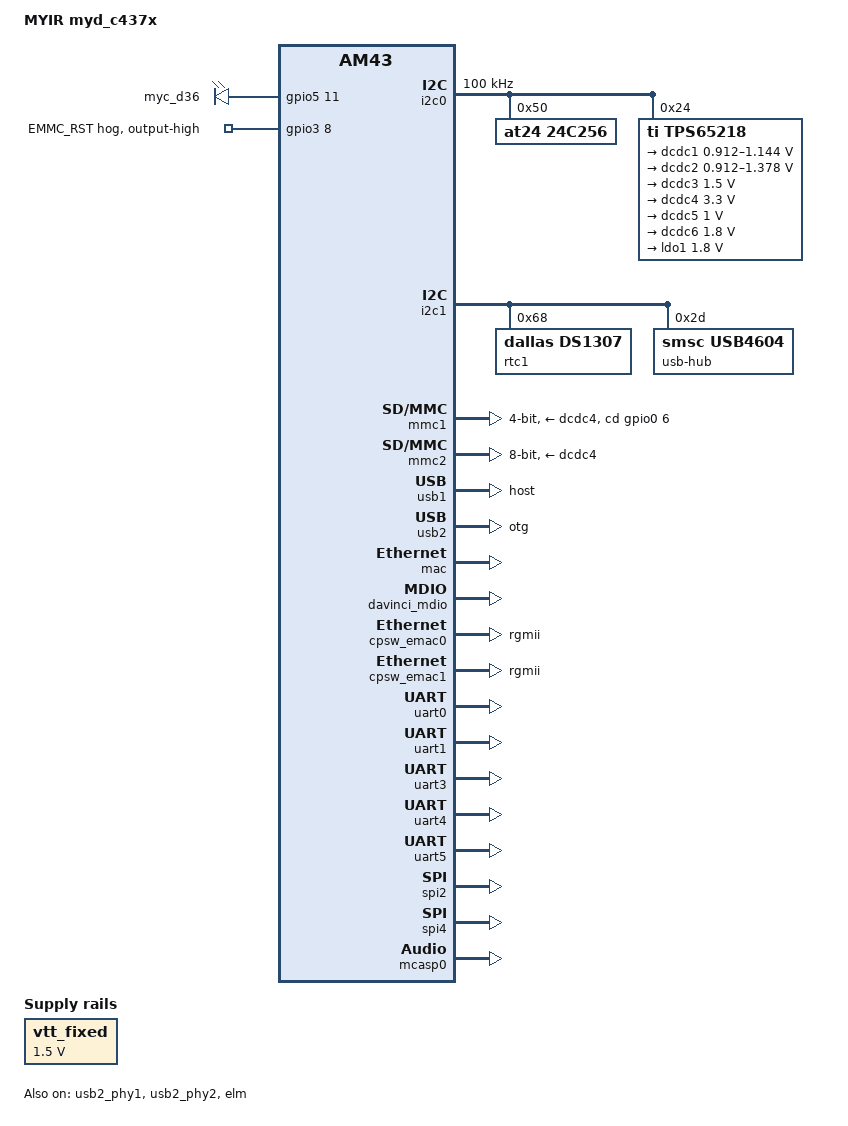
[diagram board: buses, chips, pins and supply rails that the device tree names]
/*
* Copyright (C) 2015 MYIR Tech Limited. - http://www.myirtech.com
*
* This program is free software; you can redistribute it and/or modify
* it under the terms of the GNU General Public License version 2 as
* published by the Free Software Foundation.
*/

/* MYIR myd_c437x */

/dts-v1/;

#include "am4372.dtsi"
#include <dt-bindings/pinctrl/am43xx.h>
#include <dt-bindings/pwm/pwm.h>
#include <dt-bindings/gpio/gpio.h>
#include <dt-bindings/input/input.h>

/ {
	model = "MYIR myd_c437x";
	compatible = "myir,myd_c437x","ti,am4372","ti,am43";

	vtt_fixed: fixedregulator-vtt {
		compatible = "regulator-fixed";
		regulator-name = "vtt_fixed";
		regulator-min-microvolt = <1500000>;
		regulator-max-microvolt = <1500000>;
		regulator-always-on;
		regulator-boot-on;
		enable-active-high;
//		gpio = <&gpio5 7 GPIO_ACTIVE_HIGH>;
	};

	leds {
		compatible = "gpio-leds";

		pinctrl-names = "default";
		pinctrl-0 = <&leds_pins>;
		led@0 {
			label = "myc_d36";
			gpios = <&gpio5 11 GPIO_ACTIVE_HIGH>;	/* Bank 5, pin 11 */
			linux,default-trigger = "cpu0";
			default-state = "off";
		};
	};


/*	sound0: sound@0 {
		compatible = "simple-audio-card";
		simple-audio-card,name = "MYD-C437X-EVM";
//		simple-audio-card,widgets =
//			"Headphone", "Headphone Jack",
//			"Line", "Line In";
		simple-audio-card,routing =
			"MIC_IN", "Mic Jack",
			"Mic Jack", "Mic Bias",
			"Headphone Jack", "HP_OUT";
		simple-audio-card,format = "i2s";
		simple-audio-card,bitclock-master = <&sound0_master>;
		simple-audio-card,frame-master = <&sound0_master>;
		simple-audio-card,bitclock-inversion;

		simple-audio-card,cpu {
			sound-dai = <&mcasp1>;
			system-clock-frequency = <12000000>;
		};
	};

	audio_mstrclk: mclk_osc {
		compatible = "fixed-clock";
		#clock-cells = <0>;
		clock-frequency = <12000000>;
	};*/

};

&am43xx_pinmux {
	pinctrl-names = "default", "sleep";
	pinctrl-0 = <&clkout_pins &unused_pins_default>;
	pinctrl-1 = <&unused_pins_sleep>;

	clkout_pins: pinmux_clkout_pins {
		pinctrl-single,pins = <
			0x274 (PIN_OUTPUT_PULLUP | MUX_MODE3)    /* xdma_event_intr1.clkout2 */
			/* 0x270 (PIN_OUTPUT_PULLUP | MUX_MODE3) */ /* xdma_event_intr0.clkout1 mode 3*/
		>;
	};
	
	ledg_pio0_pins_default: ledg_pio0_pins_default {
		pinctrl-single,pins = <
			0xd0 ( PIN_OUTPUT | MUX_MODE7 ) /* (C19) dss_data12.gpio0[8] */
			0xd8 ( PIN_OUTPUT | MUX_MODE7 ) /* (C17) dss_data14.gpio0[10] */
		>;
	};

	led_lte_gpio4_pins_default: led_lte_gpio4_pins_default {
		pinctrl-single,pins = <
			0x1b4 ( PIN_OUTPUT | MUX_MODE7 ) /* (AD18) cam0_vd.gpio4[1] */
			0x1bc ( PIN_OUTPUT | MUX_MODE7 ) /* (AD17) cam0_wen.gpio4[3] */
			0x1c4 ( PIN_OUTPUT | MUX_MODE7 ) /* (AB19) cam0_data8.gpio4[5] */
			0x1cc ( PIN_OUTPUT | MUX_MODE7 ) /* (AC24) cam1_data9.gpio4[7] */
			0x1d4 ( PIN_OUTPUT | MUX_MODE7 ) /* (AD25) cam1_hd.gpio4[9] */
			0x1d8 ( PIN_OUTPUT | MUX_MODE7 ) /* (AC23) cam1_vd.gpio4[10] */
			0x1dc ( PIN_INPUT | MUX_MODE7 ) /* (AE21) cam1_pclk.gpio4[11] */
			0x1e0 ( PIN_OUTPUT | MUX_MODE7 ) /* (AC25) cam1_field.gpio4[12] */
			0x1e4 ( PIN_OUTPUT | MUX_MODE7 ) /* (AB25) cam1_wen.gpio4[13] */
			0x1e8 ( PIN_INPUT | MUX_MODE7 ) /* (AB20) cam1_data0.gpio4[14] */
			0x1ec ( PIN_INPUT | MUX_MODE7 ) /* (AC21) cam1_data1.gpio4[15] */
			0x1f0 ( PIN_INPUT | MUX_MODE7 ) /* (AD21) cam1_data2.gpio4[16] */
			0x1f4 ( PIN_OUTPUT | MUX_MODE7 ) /* (AE22) cam1_data3.gpio4[17] */
			0x1f8 ( PIN_OUTPUT | MUX_MODE7 ) /* (AD22) cam1_data4.gpio4[18] */
			0x1fc ( PIN_OUTPUT | MUX_MODE7 ) /* (AE23) cam1_data5.gpio4[19] */
			0x200 ( PIN_OUTPUT | MUX_MODE7 ) /* (AD23) cam1_data6.gpio4[20] */
		>;
	};

	/* Optional sleep pin settings. Must manually enter values in the below skeleton. */
	led_lte_gpio4_pins_sleep: led_lte_gpio4_pins_sleep {
		pinctrl-single,pins = <
			0x1b4 (PIN_INPUT_PULLDOWN | MUX_MODE7 ) /* (AD18) cam0_vd.gpio4[1] */
			0x1bc (PIN_INPUT_PULLDOWN | MUX_MODE7 ) /* (AD17) cam0_wen.gpio4[3] */
			0x1c4 (PIN_INPUT_PULLDOWN | MUX_MODE7 ) /* (AB19) cam0_data8.gpio4[5] */
			0x1cc (PIN_INPUT_PULLDOWN | MUX_MODE7 ) /* (AC24) cam1_data9.gpio4[7] */
			0x1d4 (PIN_INPUT_PULLDOWN | MUX_MODE7 ) /* (AD25) cam1_hd.gpio4[9] */
			0x1d8 (PIN_INPUT_PULLDOWN | MUX_MODE7 ) /* (AC23) cam1_vd.gpio4[10] */
			0x1dc (PIN_INPUT_PULLDOWN | MUX_MODE7 ) /* (AE21) cam1_pclk.gpio4[11] */
			0x1e0 (PIN_INPUT_PULLDOWN | MUX_MODE7 ) /* (AC25) cam1_field.gpio4[12] */
			0x1e4 (PIN_INPUT_PULLDOWN | MUX_MODE7) /* (AB25) cam1_wen.gpio4[13] */
			0x1e8 (PIN_INPUT_PULLDOWN | MUX_MODE7 ) /* (AB20) cam1_data0.gpio4[14] */
			0x1ec (PIN_INPUT_PULLDOWN | MUX_MODE7) /* (AC21) cam1_data1.gpio4[15] */
			0x1f0 (PIN_INPUT_PULLDOWN | MUX_MODE7 ) /* (AD21) cam1_data2.gpio4[16] */
			0x1f4 (PIN_INPUT_PULLDOWN | MUX_MODE7 ) /* (AE22) cam1_data3.gpio4[17] */
			0x1f8 (PIN_INPUT_PULLDOWN | MUX_MODE7 ) /* (AD22) cam1_data4.gpio4[18] */
			0x1fc (PIN_INPUT_PULLDOWN | MUX_MODE7 ) /* (AE23) cam1_data5.gpio4[19] */
			0x200 (PIN_INPUT_PULLDOWN | MUX_MODE7 ) /* (AD23) cam1_data6.gpio4[20] */
		>;
	};

	i2c1_pins_default: i2c1_pins_default {
		pinctrl-single,pins = <
			0x240 ( PIN_INPUT | MUX_MODE1 ) /* (G20) gpio5_10.I2C1_SCL */
			0x248 ( PIN_INPUT | MUX_MODE1 ) /* (E25) gpio5_12.I2C1_SDA */
		>;
	};

	/* Optional sleep pin settings. Must manually enter values in the below skeleton. */
	i2c1_pins_sleep: i2c1_pins_sleep {
		pinctrl-single,pins = <
			0x240 (PIN_INPUT | MUX_MODE7 ) /* (G20) gpio5_10.I2C1_SCL */
			0x248 (PIN_INPUT | MUX_MODE7 ) /* (E25) gpio5_12.I2C1_SDA */
		>;
	};
	
	i2c0_pins_default: i2c0_pins_default {
		pinctrl-single,pins = <
			0x18c ( PIN_INPUT | MUX_MODE0 ) /* (Y22) I2C0_SCL.I2C0_SCL */
			0x188 ( PIN_INPUT | MUX_MODE0 ) /* (AB24) I2C0_SDA.I2C0_SDA */
		>;
	};

	/* Optional sleep pin settings. Must manually enter values in the below skeleton. */
	i2c0_pins_sleep: i2c0_pins_sleep {
		pinctrl-single,pins = <
			0x18c (PIN_INPUT | MUX_MODE7 ) /* (Y22) I2C0_SCL.I2C0_SCL */
			0x188 (PIN_INPUT | MUX_MODE7 ) /* (AB24) I2C0_SDA.I2C0_SDA */
		>;
	};

	mcasp0_pins_default: mymcasp0_pins_default {
		pinctrl-single,pins = <
			0x19c ( PIN_INPUT | MUX_MODE0 ) /* (M24) mcasp0_ahclkr.mcasp0_ahclkr */
			0x1a0 ( PIN_INPUT | MUX_MODE0 ) /* (L23) mcasp0_aclkr.mcasp0_aclkr */
			0x1a4 ( PIN_INPUT | MUX_MODE0 ) /* (K23) mcasp0_fsr.mcasp0_fsr */
			0x198 ( PIN_OUTPUT | MUX_MODE0 ) /* (H23) mcasp0_axr0.mcasp0_axr0 */
			0x1a8 ( PIN_INPUT | MUX_MODE0 ) /* (M25) mcasp0_axr1.mcasp0_axr1 */
		>;
	};

	/* Optional sleep pin settings. Must manually enter values in the below skeleton. */
	mcasp0_pins_sleep: mymcasp0_pins_sleep {
		pinctrl-single,pins = <
			0x19c (PIN_INPUT | MUX_MODE7 ) /* (M24) mcasp0_ahclkr.mcasp0_ahclkr */
			0x1a0 (PIN_INPUT | MUX_MODE7 ) /* (L23) mcasp0_aclkr.mcasp0_aclkr */
			0x1a4 (PIN_INPUT | MUX_MODE7 ) /* (K23) mcasp0_fsr.mcasp0_fsr */
			0x198 (PIN_INPUT | MUX_MODE7 ) /* (H23) mcasp0_axr0.mcasp0_axr0 */
			0x1a8 (PIN_INPUT | MUX_MODE7 ) /* (M25) mcasp0_axr1.mcasp0_axr1 */
		>;
	};

	mmc1_pins_default: mmc1_pins_default {
		pinctrl-single,pins = <
			0x100 ( PIN_INPUT | MUX_MODE0 ) /* (D1) mmc0_clk.mmc0_clk */
			0x104 ( PIN_INPUT | MUX_MODE0 ) /* (D2) mmc0_cmd.mmc0_cmd */
			0xfc ( PIN_INPUT | MUX_MODE0 ) /* (C1) mmc0_dat0.mmc0_dat0 */
			0xf8 ( PIN_INPUT | MUX_MODE0 ) /* (C2) mmc0_dat1.mmc0_dat1 */
			0xf4 ( PIN_INPUT | MUX_MODE0 ) /* (B2) mmc0_dat2.mmc0_dat2 */
			0xf0 ( PIN_INPUT | MUX_MODE0 ) /* (B1) mmc0_dat3.mmc0_dat3 */
			0x160 ( PIN_INPUT | MUX_MODE5 ) /* (R25) spi0_cs1.mmc0_sdcd */
		>;
	};

	/* Optional sleep pin settings. Must manually enter values in the below skeleton. */
	mmc1_pins_sleep: mmc1_pins_sleep {
		pinctrl-single,pins = <
			0x100 (PIN_INPUT | MUX_MODE7 ) /* (D1) mmc0_clk.mmc0_clk */
			0x104 (PIN_INPUT | MUX_MODE7 ) /* (D2) mmc0_cmd.mmc0_cmd */
			0xfc (PIN_INPUT | MUX_MODE7 ) /* (C1) mmc0_dat0.mmc0_dat0 */
			0xf8 (PIN_INPUT | MUX_MODE7 ) /* (C2) mmc0_dat1.mmc0_dat1 */
			0xf4 (PIN_INPUT | MUX_MODE7 ) /* (B2) mmc0_dat2.mmc0_dat2 */
			0xf0 (PIN_INPUT | MUX_MODE7 ) /* (B1) mmc0_dat3.mmc0_dat3 */
			0x160 (PIN_INPUT | MUX_MODE7 ) /* (R25) spi0_cs1.mmc0_sdcd */
		>;
	};

	lcdspi_pins_default: lcdspi_pins_default {
		pinctrl-single,pins = <
			0x260 ( PIN_OUTPUT | MUX_MODE0 ) /* (N20) spi2_sclk.spi2_sclk */
			0x264 ( PIN_OUTPUT | MUX_MODE0 ) /* (P22) spi2_d0.spi2_d0 */
			0x268 ( PIN_INPUT | MUX_MODE0 ) /* (P20) spi2_d1.spi2_d1 */
			0x26c ( PIN_OUTPUT | MUX_MODE0 ) /* (T23) spi2_cs0.spi2_cs0 */
		>;
	};

	/* Optional sleep pin settings. Must manually enter values in the below skeleton. */
	lcdspi_pins_sleep: lcdspi_pins_sleep {
		pinctrl-single,pins = <
			0x260 (PIN_INPUT_PULLDOWN | MUX_MODE7 ) /* (N20) spi2_sclk.spi2_sclk */
			0x264 (PIN_INPUT_PULLDOWN | MUX_MODE7 ) /* (P22) spi2_d0.spi2_d0 */
			0x268 (PIN_INPUT_PULLDOWN | MUX_MODE7 ) /* (P20) spi2_d1.spi2_d1 */
			0x26c (PIN_INPUT_PULLDOWN | MUX_MODE7 ) /* (T23) spi2_cs0.spi2_cs0 */
		>;
	};

	lte2_i2s_pins_default: lte2_i2s_pins_default {
		pinctrl-single,pins = <
			0x250 ( PIN_INPUT | MUX_MODE0 ) /* (P25) spi4_sclk.spi4_sclk */
			0x254 ( PIN_OUTPUT | MUX_MODE0 ) /* (R24) spi4_d0.spi4_d0 */
			0x258 ( PIN_INPUT | MUX_MODE0 ) /* (P24) spi4_d1.spi4_d1 */
			0x25c ( PIN_INPUT | MUX_MODE0 ) /* (N25) spi4_cs0.spi4_cs0 */
		>;
	};

	/* Optional sleep pin settings. Must manually enter values in the below skeleton. */
	lte2_i2s_pins_sleep: lte2_i2s_pins_sleep {
		pinctrl-single,pins = <
			0x250 (PIN_INPUT | MUX_MODE7 ) /* (P25) spi4_sclk.spi4_sclk */
			0x254 (PIN_INPUT | MUX_MODE7) /* (R24) spi4_d0.spi4_d0 */
			0x258 (PIN_INPUT | MUX_MODE7 ) /* (P24) spi4_d1.spi4_d1 */
			0x25c (PIN_INPUT | MUX_MODE7  ) /* (N25) spi4_cs0.spi4_cs0 */
		>;
	};

	debuguart_pins_default: debuguart_pins_default {
		pinctrl-single,pins = <
			0x170 ( PIN_INPUT | MUX_MODE0 ) /* (K25) uart0_rxd.uart0_rxd */
			0x174 ( PIN_OUTPUT | MUX_MODE0 ) /* (J24) uart0_txd.uart0_txd */
		>;
	};

	/* Optional sleep pin settings. Must manually enter values in the below skeleton. */
	debuguart_pins_sleep: debuguart_pins_sleep {
		pinctrl-single,pins = <
			0x170 (PIN_INPUT | MUX_MODE7 ) /* (K25) uart0_rxd.uart0_rxd */
			0x174 (PIN_INPUT | MUX_MODE7 ) /* (J24) uart0_txd.uart0_txd */
		>;
	};

	lte1uart_pins_default: lte1uart_pins_default {
		pinctrl-single,pins = <
			0x228 ( PIN_INPUT | MUX_MODE0 ) /* (H25) uart3_rxd.uart3_rxd */
			0x22c ( PIN_OUTPUT | MUX_MODE0 ) /* (H24) uart3_txd.uart3_txd */
			0x230 ( PIN_INPUT | MUX_MODE0 ) /* (H22) uart3_ctsn.uart3_ctsn */
			0x234 ( PIN_OUTPUT | MUX_MODE0 ) /* (K24) uart3_rtsn.uart3_rtsn */
		>;
	};

	/* Optional sleep pin settings. Must manually enter values in the below skeleton. */
	lte1uart_pins_sleep: lte1uart_pins_sleep {
		pinctrl-single,pins = <
			0x228 (PIN_INPUT | MUX_MODE7 ) /* (H25) uart3_rxd.uart3_rxd */
			0x22c (PIN_INPUT | MUX_MODE7 ) /* (H24) uart3_txd.uart3_txd */
			0x230 (PIN_INPUT | MUX_MODE7 ) /* (H22) uart3_ctsn.uart3_ctsn */
			0x234 (PIN_INPUT | MUX_MODE7 ) /* (K24) uart3_rtsn.uart3_rtsn */
		>;
	};

	lte2uart_pins_default: lte2uart_pins_default {
		pinctrl-single,pins = <
			0x180 ( PIN_INPUT | MUX_MODE0 ) /* (K21) uart1_rxd.uart1_rxd */
			0x184 ( PIN_OUTPUT | MUX_MODE0 ) /* (L21) uart1_txd.uart1_txd */
			0x178 ( PIN_INPUT | MUX_MODE0 ) /* (K22) uart1_ctsn.uart1_ctsn */
			0x17c ( PIN_OUTPUT | MUX_MODE0 ) /* (L22) uart1_rtsn.uart1_rtsn */
		>;
	};

	/* Optional sleep pin settings. Must manually enter values in the below skeleton. */
	lte2uart_pins_sleep: lte2uart_pins_sleep {
		pinctrl-single,pins = <
			0x180 (PIN_INPUT | MUX_MODE7 ) /* (K21) uart1_rxd.uart1_rxd */
			0x184 (PIN_INPUT | MUX_MODE7 ) /* (L21) uart1_txd.uart1_txd */
			0x178 (PIN_INPUT | MUX_MODE7 ) /* (K22) uart1_ctsn.uart1_ctsn */
			0x17c (PIN_INPUT | MUX_MODE7 ) /* (L22) uart1_rtsn.uart1_rtsn */
		>;
	};

	simuart1_pins_default: simuart1_pins_default {
		pinctrl-single,pins = <
			0x108 ( PIN_INPUT | MUX_MODE3 ) /* (D16) mii1_col.uart5_rxd */
			0x144 ( PIN_OUTPUT | MUX_MODE3 ) /* (A16) rmii1_ref_clk.uart5_txd */
			0x10c ( PIN_INPUT | MUX_MODE5 ) /* (B14) mii1_crs.uart5_ctsn */
			0x110 ( PIN_OUTPUT | MUX_MODE5 ) /* (B13) mii1_rx_er.uart5_rtsn */
		>;
	};

	/* Optional sleep pin settings. Must manually enter values in the below skeleton. */
	simuart1_pins_sleep: simuart1_pins_sleep {
		pinctrl-single,pins = <
			0x108 (PIN_INPUT | MUX_MODE7 ) /* (D16) mii1_col.uart5_rxd */
			0x144 (PIN_INPUT | MUX_MODE7 ) /* (A16) rmii1_ref_clk.uart5_txd */
			0x10c (PIN_INPUT | MUX_MODE7 ) /* (B14) mii1_crs.uart5_ctsn */
			0x110 (PIN_INPUT | MUX_MODE7 ) /* (B13) mii1_rx_er.uart5_rtsn */
		>;
	};

	simuart2_pins_default: simuart2_pins_default {
		pinctrl-single,pins = <
			0x70 ( PIN_INPUT | MUX_MODE6 ) /* (A2) gpmc_wait0.uart4_rxd */
			0x74 ( PIN_OUTPUT | MUX_MODE6 ) /* (B3) gpmc_wpn.uart4_txd */
		>;
	};

	/* Optional sleep pin settings. Must manually enter values in the below skeleton. */
	simuart2_pins_sleep: simuart2_pins_sleep {
		pinctrl-single,pins = <
			0x70 (PIN_INPUT | MUX_MODE7 ) /* (A2) gpmc_wait0.uart4_rxd */
			0x74 (PIN_INPUT | MUX_MODE7 ) /* (B3) gpmc_wpn.uart4_txd */
		>;
	};

	miniusb_pins_default: miniusb_pins_default {
		pinctrl-single,pins = <
			0x2c4 ( PIN_OUTPUT | MUX_MODE0 ) /* (F25) USB1_DRVVBUS.USB1_DRVVBUS */
		>;
	};

	/* Optional sleep pin settings. Must manually enter values in the below skeleton. */
	miniusb_pins_sleep: miniusb_pins_sleep {
		pinctrl-single,pins = <
			0x2c4 (PIN_OUTPUT | MUX_MODE0 ) /* (F25) USB1_DRVVBUS.USB1_DRVVBUS */
		>;
	};

	usb_hub_pins_default: usb_hub_pins_default {
		pinctrl-single,pins = <
			0x2c0 ( PIN_OUTPUT | MUX_MODE0 ) /* (G21) USB0_DRVVBUS.USB0_DRVVBUS */
		>;
	};

	/* Optional sleep pin settings. Must manually enter values in the below skeleton. */
	usb_hub_pins_sleep: usb_hub_pins_sleep {
		pinctrl-single,pins = <
			0x2c0 (PIN_OUTPUT | MUX_MODE0 ) /* (G21) USB0_DRVVBUS.USB0_DRVVBUS */
		>;
	};
	emmc_pins_default: emmc_pins_default {
		pinctrl-single,pins = <
			0x80 ( PIN_INPUT_PULLUP | MUX_MODE2 ) /* (B9) gpmc_csn1.mmc1_clk */
			0x84 ( PIN_INPUT_PULLUP | MUX_MODE2 ) /* (F10) gpmc_csn2.mmc1_cmd */
			0x20 ( PIN_INPUT_PULLUP | MUX_MODE2 ) /* (B10) gpmc_ad8.mmc1_dat0 */
			0x24 ( PIN_INPUT_PULLUP | MUX_MODE2 ) /* (A10) gpmc_ad9.mmc1_dat1 */
			0x28 ( PIN_INPUT_PULLUP | MUX_MODE2 ) /* (F11) gpmc_ad10.mmc1_dat2 */
			0x2c ( PIN_INPUT_PULLUP | MUX_MODE2 ) /* (D11) gpmc_ad11.mmc1_dat3 */
			0x30 ( PIN_INPUT_PULLUP | MUX_MODE2 ) /* (E11) gpmc_ad12.mmc1_dat4 */
			0x34 ( PIN_INPUT_PULLUP | MUX_MODE2 ) /* (C11) gpmc_ad13.mmc1_dat5 */
			0x38 ( PIN_INPUT_PULLUP | MUX_MODE2 ) /* (B11) gpmc_ad14.mmc1_dat6 */
			0x3c ( PIN_INPUT_PULLUP | MUX_MODE2 ) /* (A11) gpmc_ad15.mmc1_dat7 */
		>;
	};

	emmc_pins_sleep: emmc_pins_sleep {
		pinctrl-single,pins = <
			0x80 (PIN_INPUT_PULLDOWN | MUX_MODE7) /* (B9) gpmc_csn1.mmc1_clk */
			0x84 (PIN_INPUT_PULLDOWN | MUX_MODE7) /* (F10) gpmc_csn2.mmc1_cmd */
			0x20 (PIN_INPUT_PULLDOWN | MUX_MODE7) /* (B10) gpmc_ad8.mmc1_dat0 */
			0x24 (PIN_INPUT_PULLDOWN | MUX_MODE7) /* (A10) gpmc_ad9.mmc1_dat1 */
			0x28 (PIN_INPUT_PULLDOWN | MUX_MODE7) /* (F11) gpmc_ad10.mmc1_dat2 */
			0x2c (PIN_INPUT_PULLDOWN | MUX_MODE7) /* (D11) gpmc_ad11.mmc1_dat3 */
			0x30 (PIN_INPUT_PULLDOWN | MUX_MODE7) /* (E11) gpmc_ad12.mmc1_dat4 */
			0x34 (PIN_INPUT_PULLDOWN | MUX_MODE7) /* (C11) gpmc_ad13.mmc1_dat5 */
			0x38 (PIN_INPUT_PULLDOWN | MUX_MODE7) /* (B11) gpmc_ad14.mmc1_dat6 */
			0x3c (PIN_INPUT_PULLDOWN | MUX_MODE7) /* (A11) gpmc_ad15.mmc1_dat7 */
		>;
	};


	cpsw_default: cpsw_default {
		pinctrl-single,pins = <
			/* Slave 1 */
			0x114 (PIN_OUTPUT_PULLDOWN | MUX_MODE2)	/* mii1_txen.rgmii1_txen */
			0x118 (PIN_INPUT_PULLDOWN | MUX_MODE2)	/* mii1_rxdv.rgmii1_rxctl */
			0x11c (PIN_OUTPUT_PULLDOWN | MUX_MODE2)	/* mii1_txd1.rgmii1_txd3 */
			0x120 (PIN_OUTPUT_PULLDOWN | MUX_MODE2)	/* mii1_txd0.rgmii1_txd2 */
			0x124 (PIN_OUTPUT_PULLDOWN | MUX_MODE2)	/* mii1_txd1.rgmii1_txd1 */
			0x128 (PIN_OUTPUT_PULLDOWN | MUX_MODE2)	/* mii1_txd0.rgmii1_txd0 */
			0x12c (PIN_OUTPUT_PULLDOWN | MUX_MODE2)	/* mii1_txclk.rmii1_tclk */
			0x130 (PIN_INPUT_PULLDOWN | MUX_MODE2)	/* mii1_rxclk.rmii1_rclk */
			0x134 (PIN_INPUT_PULLDOWN | MUX_MODE2)	/* mii1_rxd1.rgmii1_rxd3 */
			0x138 (PIN_INPUT_PULLDOWN | MUX_MODE2)	/* mii1_rxd0.rgmii1_rxd2 */
			0x13c (PIN_INPUT_PULLDOWN | MUX_MODE2)	/* mii1_rxd1.rgmii1_rxd1 */
			0x140 (PIN_INPUT_PULLDOWN | MUX_MODE2)	/* mii1_rxd0.rgmii1_rxd0 */

			/* Slave 2 */
			0x58 (PIN_OUTPUT_PULLDOWN | MUX_MODE2)	/* gpmc_a6.rgmii2_tclk */
			0x40 (PIN_OUTPUT_PULLDOWN | MUX_MODE2)	/* gpmc_a0.rgmii2_tctl */
			0x54 (PIN_OUTPUT_PULLDOWN | MUX_MODE2)	/* gpmc_a5.rgmii2_td0 */
			0x50 (PIN_OUTPUT_PULLDOWN | MUX_MODE2)	/* gpmc_a4.rgmii2_td1 */
			0x4c (PIN_OUTPUT_PULLDOWN | MUX_MODE2)	/* gpmc_a3.rgmii2_td2 */
			0x48 (PIN_OUTPUT_PULLDOWN | MUX_MODE2)	/* gpmc_a2.rgmii2_td3 */
			0x5c (PIN_INPUT_PULLDOWN | MUX_MODE2)	/* gpmc_a7.rgmii2_rclk */
			0x44 (PIN_INPUT_PULLDOWN | MUX_MODE2)	/* gpmc_a1.rgmii2_rtcl */
			0x6c (PIN_INPUT_PULLDOWN | MUX_MODE2)	/* gpmc_a11.rgmii2_rd0 */
			0x68 (PIN_INPUT_PULLDOWN | MUX_MODE2)	/* gpmc_a10.rgmii2_rd1 */
			0x64 (PIN_INPUT_PULLDOWN | MUX_MODE2)	/* gpmc_a9.rgmii2_rd2 */
			0x60 (PIN_INPUT_PULLDOWN | MUX_MODE2)	/* gpmc_a8.rgmii2_rd3 */
		>;
	};

	cpsw_sleep: cpsw_sleep {
		pinctrl-single,pins = <
			/* Slave 1 reset value */
			0x114 (PIN_INPUT_PULLDOWN | MUX_MODE7)
			0x118 (PIN_INPUT_PULLDOWN | MUX_MODE7)
			0x11c (PIN_INPUT_PULLDOWN | MUX_MODE7)
			0x120 (PIN_INPUT_PULLDOWN | MUX_MODE7)
			0x124 (PIN_INPUT_PULLDOWN | MUX_MODE7)
			0x128 (PIN_INPUT_PULLDOWN | MUX_MODE7)
			0x12c (PIN_INPUT_PULLDOWN | MUX_MODE7)
			0x130 (PIN_INPUT_PULLDOWN | MUX_MODE7)
			0x134 (PIN_INPUT | PULL_DISABLE | MUX_MODE7)
			0x138 (PIN_INPUT | PULL_DISABLE | MUX_MODE7)
			0x13c (PIN_INPUT | PULL_DISABLE | MUX_MODE7)
			0x140 (PIN_INPUT | PULL_DISABLE | MUX_MODE7)

			/* Slave 2 reset value */
			0x58 (PIN_INPUT_PULLDOWN | MUX_MODE7)
			0x40 (PIN_INPUT_PULLDOWN | MUX_MODE7)
			0x54 (PIN_INPUT_PULLDOWN | MUX_MODE7)
			0x50 (PIN_INPUT_PULLDOWN | MUX_MODE7)
			0x4c (PIN_INPUT_PULLDOWN | MUX_MODE7)
			0x48 (PIN_INPUT_PULLDOWN | MUX_MODE7)
			0x5c (PIN_INPUT_PULLDOWN | MUX_MODE7)
			0x44 (PIN_INPUT_PULLDOWN | MUX_MODE7)
			0x6c (PIN_INPUT_PULLDOWN | MUX_MODE7)
			0x68 (PIN_INPUT_PULLDOWN | MUX_MODE7)
			0x64 (PIN_INPUT_PULLDOWN | MUX_MODE7)
			0x60 (PIN_INPUT_PULLDOWN | MUX_MODE7)
		>;
	};

	davinci_mdio_default: davinci_mdio_default {
		pinctrl-single,pins = <
			/* MDIO */
			0x148 (PIN_INPUT_PULLUP | SLEWCTRL_FAST | MUX_MODE0)	/* mdio_data.mdio_data */
			0x14c (PIN_OUTPUT_PULLUP | MUX_MODE0)			/* mdio_clk.mdio_clk */
		>;
	};

	davinci_mdio_sleep: davinci_mdio_sleep {
		pinctrl-single,pins = <
			/* MDIO reset value */
			0x148 (PIN_INPUT | PULL_DISABLE | MUX_MODE7)
			0x14c (PIN_INPUT | PULL_DISABLE | MUX_MODE7)
		>;
	};

	leds_pins: leds_pins {
		pinctrl-single,pins = <
			0x244 ( PIN_OUTPUT_PULLUP | MUX_MODE7 ) /* (F23) gpio5_11.gpio5[11] */
		>;
	};

	uart0_pins_default: uart0_pins_default {
		pinctrl-single,pins = <
			0x168 (DS0_PULL_UP_DOWN_EN | INPUT_EN | MUX_MODE0)
			0x16C (DS0_PULL_UP_DOWN_EN | INPUT_EN | MUX_MODE0)
			0x170 (PIN_INPUT_PULLUP | SLEWCTRL_FAST | DS0_PULL_UP_DOWN_EN | MUX_MODE0) /* uart0_rxd.uart0_rxd */
			0x174 (PIN_INPUT | PULL_DISABLE | SLEWCTRL_FAST | DS0_PULL_UP_DOWN_EN | MUX_MODE0) /* uart0_txd.uart0_txd */
		>;
	};

	uart0_pins_sleep: uart0_pins_sleep {
		pinctrl-single,pins = <
			0x168 (DS0_PULL_UP_DOWN_EN | INPUT_EN | MUX_MODE7)
			0x16C (DS0_PULL_UP_DOWN_EN | INPUT_EN | MUX_MODE7)
			0x170 (PIN_INPUT_PULLUP | SLEWCTRL_FAST | DS0_PULL_UP_DOWN_EN | MUX_MODE0) /* uart0_rxd.uart0_rxd */
			0x174 (PIN_INPUT_PULLDOWN | SLEWCTRL_FAST | DS0_PULL_UP_DOWN_EN | MUX_MODE0) /* uart0_txd.uart0_txd */
		>;
	};

	
	gpio3_pins: gpio3_pins_default {
		pinctrl-single,pins = <
		0x2a4 ( PIN_OUTPUT_PULLUP | MUX_MODE7 ) /* (N23) EMU1.gpio3[7] */
		0x2a8 ( PIN_OUTPUT | MUX_MODE7 ) /* (T24) EMU1.gpio3[8] */
		>;
	};

	unused_pins_default: pinmux_unused_pins_default {
	pinctrl-single,pins = <
		0x23c ( PIN_INPUT_PULLDOWN | MUX_MODE7)  // GPIO5_9
		0x270 ( PIN_INPUT_PULLUP | MUX_MODE7 ) /* (D24) xdma_event_intr0.gpio0[19] */
		>;
	};

	unused_pins_sleep: pinmux_unused_pins_sleep {
		pinctrl-single,pins = <
			0x23c ( PIN_INPUT_PULLDOWN | MUX_MODE7)
			0x270 ( PIN_INPUT_PULLDOWN | MUX_MODE7 ) /* (D24) xdma_event_intr0.gpio0[19] */
			>;
        };
};

&i2c0 {
	status = "okay";
	pinctrl-names = "default", "sleep";
	pinctrl-0 = <&i2c0_pins_default>;
	pinctrl-1 = <&i2c0_pins_sleep>;
	clock-frequency = <100000>;

	at24@50 {
		compatible = "at24,24c256";
		pagesize = <64>;
		reg = <0x50>;
		};

	tps65218: tps65218@24 {
		reg = <0x24>;
		compatible = "ti,tps65218";
		interrupts = <GIC_SPI 7 IRQ_TYPE_LEVEL_HIGH>;
		interrupt-controller;
		#interrupt-cells = <2>;

		dcdc1: regulator-dcdc1 {
			compatible = "ti,tps65218-dcdc1";
			/* VDD_CORE limits min of OPP50 and max of OPP100 */
			regulator-name = "vdd_core";
			regulator-min-microvolt = <912000>;
			regulator-max-microvolt = <1144000>;
			regulator-boot-on;
			regulator-always-on;
		};

		dcdc2: regulator-dcdc2 {
			compatible = "ti,tps65218-dcdc2";
			/* VDD_MPU limits min of OPP50 and max of OPP_NITRO */
			regulator-name = "vdd_mpu";
			regulator-min-microvolt = <912000>;
			regulator-max-microvolt = <1378000>;
			regulator-boot-on;
			regulator-always-on;
		};

		dcdc3: regulator-dcdc3 {
			compatible = "ti,tps65218-dcdc3";
			regulator-name = "vdds_ddr";
			regulator-min-microvolt = <1500000>;
			regulator-max-microvolt = <1500000>;
			regulator-boot-on;
			regulator-always-on;
			regulator-state-mem {
				regulator-on-in-suspend;
			};
			regulator-state-disk {
				regulator-off-in-suspend;
			};
		};

		dcdc4: regulator-dcdc4 {
			compatible = "ti,tps65218-dcdc4";
			regulator-name = "v3_3d";
			regulator-min-microvolt = <3300000>;
			regulator-max-microvolt = <3300000>;
			regulator-boot-on;
			regulator-always-on;
		};

		dcdc5: regulator-dcdc5 {
			compatible = "ti,tps65218-dcdc5";
			regulator-name = "v1_0bat";
			regulator-min-microvolt = <1000000>;
			regulator-max-microvolt = <1000000>;
			regulator-boot-on;
			regulator-always-on;
			regulator-state-mem {
				regulator-on-in-suspend;
			};
		};

		dcdc6: regulator-dcdc6 {
			compatible = "ti,tps65218-dcdc6";
			regulator-name = "v1_8bat";
			regulator-min-microvolt = <1800000>;
			regulator-max-microvolt = <1800000>;
			regulator-boot-on;
			regulator-always-on;
			regulator-state-mem {
				regulator-on-in-suspend;
			};
		};

		ldo1: regulator-ldo1 {
			compatible = "ti,tps65218-ldo1";
			regulator-name = "v1_8d";
			regulator-min-microvolt = <1800000>;
			regulator-max-microvolt = <1800000>;
			regulator-boot-on;
			regulator-always-on;
		};

		power-button {
			compatible = "ti,tps65218-pwrbutton";
			status = "okay";
			interrupts = <3 IRQ_TYPE_EDGE_BOTH>;
		};
	};
};

&i2c1 {
	status = "okay";
	pinctrl-names = "default", "sleep";
	pinctrl-0 = <&i2c1_pins_default>;
	pinctrl-1 = <&i2c1_pins_sleep>;

	rtc1: ds1307@68 {
		compatible = "dallas,ds1307";
		reg = <0x68>;
	};

	usb-hub@2d {
		compatible = "smsc,usb4604";
		reg = <0x2d>;
		initial-mode = <1>;
	};
};


/*
&clkout2_ck {
	status = "okay";
};

&clkout2_src_mux_ck {
	status="okay";
	assigned-clocks = <&clkout2_src_mux_ck>;
	assigned-clock-parents = <&dpll_per_m2_ck>;
};

&clkout2_src_post_div_ck {
	status = "okay";
	assigned-clocks = <&clkout2_src_post_div_ck>;
	assigned-clock-rates = <24000000>;
};
*/

&gpio0 {
	status = "okay";
};

&gpio1 {
	status = "okay";
};

&gpio2 {
	status = "okay";
};

&gpio3 {
	pinctrl-names = "default";
	pinctrl-0 = <&gpio3_pins>;
	status = "okay";

	p8 {
		gpio-hog;
		gpios = <8 GPIO_ACTIVE_HIGH>;
		output-high;
		line-name = "EMMC_RST";
	};
};

&gpio4{
	status = "okay";
};

&gpio5 {
	status = "okay";
};

&mmc1 {
	status = "okay";
	vmmc-supply = <&dcdc4>;
	bus-width = <4>;
	pinctrl-names = "default", "sleep";
	pinctrl-0 = <&mmc1_pins_default>;
	pinctrl-1 = <&mmc1_pins_sleep>;
	cd-gpios = <&gpio0 6 GPIO_ACTIVE_HIGH>;
};
/* eMMC sits on mmc2 */
&mmc2 {
	/*
	 * When enabling eMMC, disable GPMC/NAND and set
	 * SelEMMCorNAND to output-high
	 */
	status = "okay";
	vmmc-supply = <&dcdc4>;
	bus-width = <8>;
	pinctrl-names = "default", "sleep";
	pinctrl-0 = <&emmc_pins_default>;
	pinctrl-1 = <&emmc_pins_sleep>;
	ti,non-removable;
};

&usb2_phy1 {
	status = "okay";
};


&usb1 {
	dr_mode = "host";
	status = "okay";
	pinctrl-names = "default";
	pinctrl-0 = <&usb_hub_pins_default>;
};

&usb2_phy2 {
	status = "okay";
};

&usb2 {
	dr_mode = "otg";
	status = "okay";
	pinctrl-names = "default";
	pinctrl-0 = <&miniusb_pins_default>;
};

&mac {
	pinctrl-names = "default", "sleep";
	pinctrl-0 = <&cpsw_default>;
	pinctrl-1 = <&cpsw_sleep>;
	dual_emac = <1>;
	status = "okay";
};

&davinci_mdio {
	pinctrl-names = "default", "sleep";
	pinctrl-0 = <&davinci_mdio_default>;
	pinctrl-1 = <&davinci_mdio_sleep>;
	status = "okay";
};

&cpsw_emac0 {
	phy_id = <&davinci_mdio>, <4>;
	phy-mode = "rgmii";
	dual_emac_res_vlan = <1>;
};

&cpsw_emac1 {
	phy_id = <&davinci_mdio>, <1>;
	phy-mode = "rgmii";
	dual_emac_res_vlan = <2>;
};

&elm {
	status = "okay";
};

&uart0 {
	status = "okay";
	pinctrl-names = "default", "sleep";
	pinctrl-0 = <&debuguart_pins_default>;
	pinctrl-1 = <&debuguart_pins_sleep>;
};

&uart1 {
	status = "okay";
	pinctrl-names = "default", "sleep";
	pinctrl-0 = <&lte2uart_pins_default>;
	pinctrl-1 = <&lte2uart_pins_sleep>;
};

&uart3 {
	status = "okay";
	pinctrl-names = "default", "sleep";
	pinctrl-0 = <&lte1uart_pins_default>;
	pinctrl-1 = <&lte1uart_pins_sleep>;
};

&uart4 {
	status = "okay";
	pinctrl-names = "default", "sleep";
	pinctrl-0 = <&simuart2_pins_default>;
	pinctrl-1 = <&simuart2_pins_sleep>;
};

&uart5 {
	status = "okay";
	pinctrl-names = "default", "sleep";
	pinctrl-0 = <&simuart1_pins_default>;
	pinctrl-1 = <&simuart1_pins_sleep>;
};

&spi2 {
	status = "okay";
	pinctrl-names = "default";
	pinctrl-0 = <&lcdspi_pins_default>;
	ti,pindir-d0-in-d1-out =<1>; // optional
};

&spi4 {
	status = "okay";
	pinctrl-names = "default";
	pinctrl-0 = <&lte2_i2s_pins_default>;
	ti,pindir-d0-in-d1-out =<1>; // optional
};

&mcasp0 {
	#sound-dai-cells = <0>;
	pinctrl-names = "default", "sleep";
	pinctrl-0 = <&mcasp0_pins_default>;
	pinctrl-1 = <&mcasp0_pins_sleep>;

	status = "okay";

	op-mode = <0>; /* MCASP_IIS_MODE */
	tdm-slots = <2>;
	/* 4 serializers */
	serial-dir = <  /* 0: INACTIVE, 1: TX, 2: RX */
		1 2 0 0
	>;
	tx-num-evt = <32>;
	rx-num-evt = <32>;
};


&wkup_m3_ipc {
	ti,set-io-isolation;
	ti,scale-data-fw = "am43x-evm-scale-data.bin";
};

&cpu {
	cpu0-supply = <&dcdc2>;
};

&rtc {
	status = "disabled";
	ext-clk-src;
};

/*
&sgx {
	status = "disabled";
};
*/
